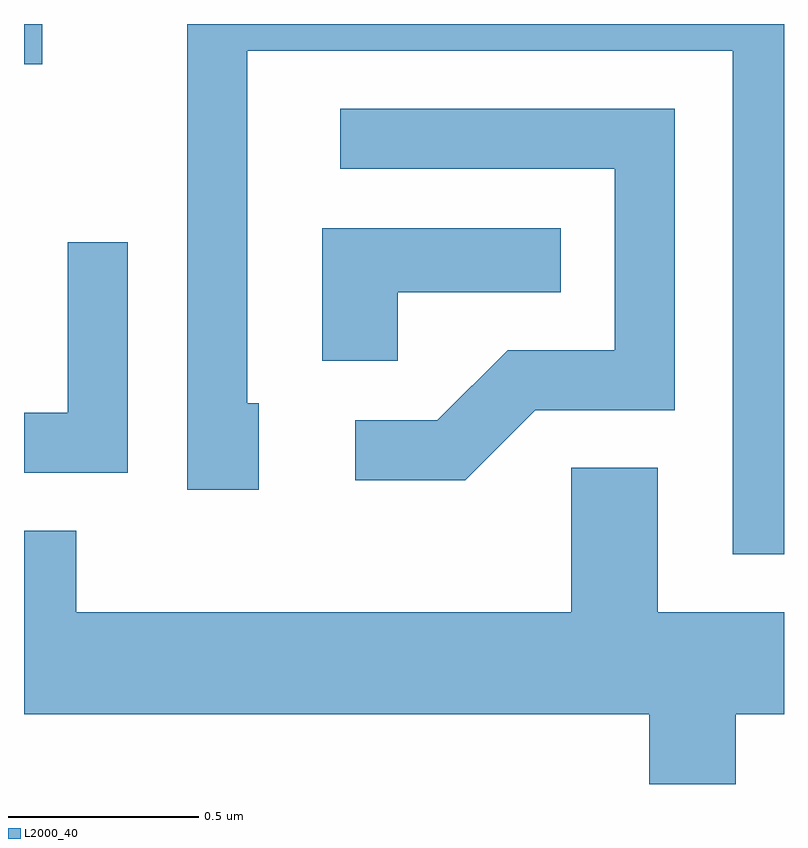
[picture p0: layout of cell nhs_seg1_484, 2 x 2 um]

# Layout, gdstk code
import gdstk
lib = gdstk.Library(unit=1e-6, precision=1e-09)
def R(c, l, rs):  # rectangles x0, y0, x1, y1
    for r in rs: c.add(gdstk.rectangle(r[:2], r[2:], *l))
def P(c, l, *ps):  # polygons
    for p in ps: c.add(gdstk.Polygon(p, *l))
L2000_40 = (2000, 40)

nhs_seg1_484 = lib.new_cell('nhs_seg1_484')
R(nhs_seg1_484, L2000_40, [(188.611,914.606,188.659,914.712)])
P(nhs_seg1_484, L2000_40, [(190.611,914.712),(189.041,914.712),(189.041,913.486),(189.229,913.486),(189.229,913.714),(189.199,913.714),(189.199,914.641),(190.476,914.641),(190.476,913.316),(190.611,913.316)],
  [(189.957,913.696),(190.324,913.696),(190.324,914.489),(189.443,914.489),(189.443,914.331),(190.166,914.331),(190.166,913.854),(189.884,913.854),(189.699,913.669),(189.483,913.669),(189.483,913.511),(189.772,913.511)],
  [(189.594,914.006),(190.023,914.006),(190.023,914.174),(189.396,914.174),(189.396,913.826),(189.594,913.826)],
  [(188.884,914.138),(188.726,914.138),(188.726,913.689),(188.611,913.689),(188.611,913.531),(188.884,913.531)],
  [(190.484,912.896),(190.611,912.896),(190.611,913.164),(190.279,913.164),(190.279,913.544),(190.051,913.544),(190.051,913.164),(188.749,913.164),(188.749,913.379),(188.611,913.379),(188.611,912.896),(190.256,912.896),(190.256,912.712),(190.484,912.712)])

lib.write_gds('nhs_seg1_484.gds')
